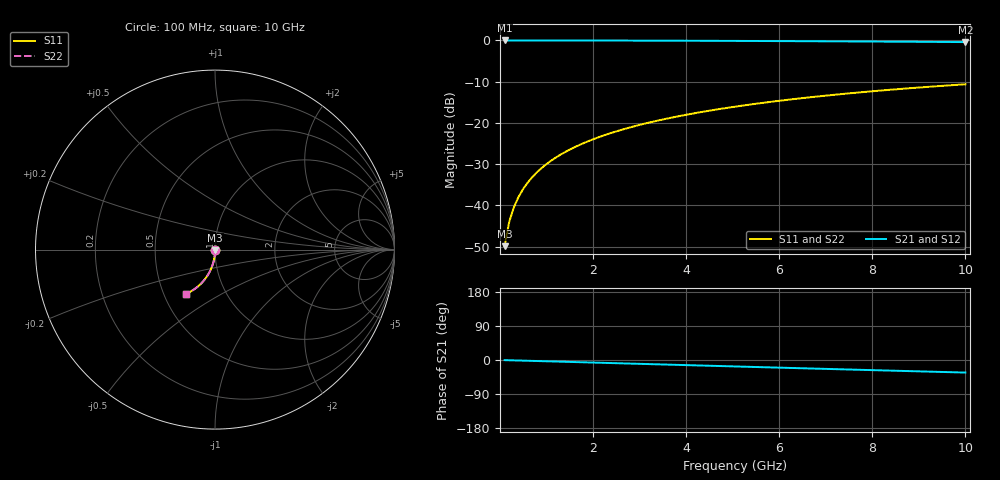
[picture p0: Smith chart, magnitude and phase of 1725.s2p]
# Hz S RI R 50.00
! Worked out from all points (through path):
!   100 points, 100 MHz to 10 GHz, reference 50 ohm
!   highest |S21| = 0.00 dB at 100 MHz (marker M1); lowest = -0.4 dB at 10 GHz (marker M2)
!   group delay of S21, straight-line fit = 9.23 ps
!   lowest |S11| = -49.9 dB at 100 MHz (marker M3), VSWR 1.01, Z = 50 - j0.317 ohm
!   |S11| at or under -10 dB: start of sweep to end of sweep
!   |S22| runs from -49.9 to -10.6 dB; largest |S21 - S12| = 0
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1e8  0.000417 -0.00317  0.9995 -0.00589  0.9995 -0.00589  0.000417 -0.00317
2e8  0.00036 -0.00633  0.9995 -0.0118  0.9995 -0.0118  0.00036 -0.00633
3e8  0.000265 -0.0095  0.9993 -0.0177  0.9993 -0.0177  0.000265 -0.0095
4e8  0.000132 -0.0127  0.9992 -0.0236  0.9992 -0.0236  0.000132 -0.0127
5e8  -3.9e-05 -0.0158  0.999 -0.0294  0.999 -0.0294  -3.9e-05 -0.0158
6e8  -0.000247 -0.019  0.9987 -0.0353  0.9987 -0.0353  -0.000247 -0.019
7e8  -0.000493 -0.0221  0.9984 -0.0412  0.9984 -0.0412  -0.000493 -0.0221
8e8  -0.000775 -0.0253  0.9981 -0.0471  0.9981 -0.0471  -0.000775 -0.0253
9e8  -0.0011 -0.0285  0.9977 -0.053  0.9977 -0.053  -0.0011 -0.0285
1.1e9  -0.00185 -0.0347  0.9968 -0.0647  0.9968 -0.0647  -0.00185 -0.0347
1.4e9  -0.00325 -0.0441  0.9951 -0.0823  0.9951 -0.0823  -0.00325 -0.0441
1.8e9  -0.00564 -0.0566  0.9922 -0.1057  0.9922 -0.1057  -0.00564 -0.0566
2.1e9  -0.00782 -0.0658  0.9896 -0.1231  0.9896 -0.1231  -0.00782 -0.0658
2.5e9  -0.0112 -0.0781  0.9855 -0.1463  0.9855 -0.1463  -0.0112 -0.0781
2.9e9  -0.0152 -0.0901  0.9807 -0.1692  0.9807 -0.1692  -0.0152 -0.0901
3.4e9  -0.0209 -0.1048  0.9738 -0.1977  0.9738 -0.1977  -0.0209 -0.1048
4.2e9  -0.0319 -0.1275  0.9605 -0.2424  0.9605 -0.2424  -0.0319 -0.1275
5.1e9  -0.0466 -0.1517  0.9426 -0.2913  0.9426 -0.2913  -0.0466 -0.1517
5.9e9  -0.0616 -0.1716  0.9242 -0.3334  0.9242 -0.3334  -0.0616 -0.1716
6.7e9  -0.0784 -0.19  0.9035 -0.3739  0.9035 -0.3739  -0.0784 -0.19
8.4e9  -0.1185 -0.223  0.8533 -0.4544  0.8533 -0.4544  -0.1185 -0.223
1e10  -0.1606 -0.246  0.7993 -0.5224  0.7993 -0.5224  -0.1606 -0.246
